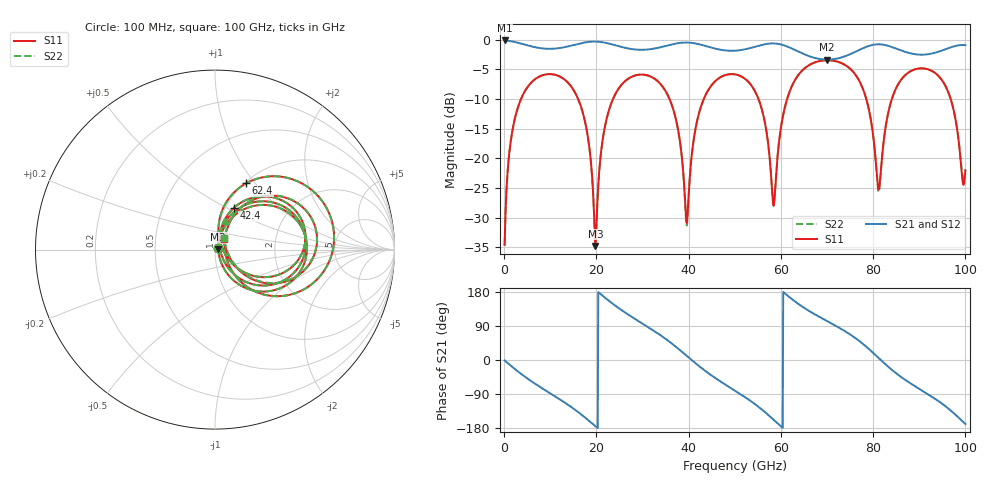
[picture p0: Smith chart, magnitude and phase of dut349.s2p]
! Touchstone file exported from HFSS 2026.1.0
!  File:  C:/ffzhzh/LocalFiles/Ansys_Project_Files/temp_train_TSV_RDL_349_1783707983_45496.aedt
!  Generated:  02:34:38 AM Jul 11, 2026
!  Design:  TSV_RDL
!  Project:  temp_train_TSV_RDL_349_1783707983_45496
! Variables:
!  h_bsmrdl = 4.22um
!  h_ox = 20um
!  h_rdl = 5um
!  h_sub = 79.89um
!  h_tmrdl = 2.1um
!  h_tsv = 79.89um
!  h_via = 3um
!  l_bsmrdl = 343.08um
!  l_sub = 2909.4um
!  l_tmrdl = 333.68um
!  m_sub = 200um
!  pitch = 51.9um
!  r_tsv = 7.05um
!  s_tmrdl = 10um
!  w_bsmrdl = 24.82um
!  w_sub = 500um
!  w_tmrdl = 23.66um
!  x_tsv_center1 = 345.51um
!  x_tsv_center2 = 713.41um
!  x_tsv_center3 = 1070.75um
!  x_tsv_center4 = 1438.65um
!  x_tsv_center5 = 1795.99um
!  x_tsv_center6 = 2163.89um
# GHz S MA R 50.000000
! Terminal data exported
! Port[1] = TM_RDL1_1_T1
! Port[2] = TM_RDL5_1_T1
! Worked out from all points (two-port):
!   1000 points, 100 MHz to 100 GHz, reference 50 ohm
!   highest |S21| = -0.13 dB at 100 MHz (marker M1); lowest = -3.4 dB at 70 GHz (marker M2)
!   |S21| within 3 dB of the highest: start of sweep to 67.62 GHz; 72.47 GHz to end of sweep
!   lowest |S11| = -34.8 dB at 19.8 GHz (marker M3), VSWR 1.04, Z = 51.9 + j0.134 ohm
!   |S11| at or under -10 dB: 16.04 GHz to 23.6 GHz (7.564 GHz wide, 38.2 % of centre); 35.85 GHz to 43.28 GHz (7.427 GHz wide, 18.8 % of centre); 55.14 GHz to 61.35 GHz (6.209 GHz wide, 10.7 % of centre) (the widest 3 of 6)
!   |S22| runs from -34.8 to -3.5 dB; largest |S21 - S12| = 1.5e-13
!   S11 on the Smith chart (normalised r, x): 100 MHz: 1.03, +0.02; 42.4 GHz: 1.09, +0.54; 62.4 GHz: 1.02, +0.90; 100 GHz: 1.10, +0.14
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0.1  0.01866 33.8  0.9846 -1.1  0.9846 -1.1  0.01866 33.8
! Gamma 0 0 0 0
! Port Impedance 50 0 50 0
1.7  0.1634 65.3  0.9665 -17.6  0.9665 -17.6  0.1634 65.3
4.9  0.3901 39.3  0.8987 -47.6  0.8987 -47.6  0.3901 39.2
10.6  0.51 -3.8  0.8388 -92.5  0.8388 -92.5  0.51 -3.8
16.8  0.2621 -52.7  0.9356 -144.6  0.9356 -144.6  0.262 -52.7
19.8  0.01826 4.1  0.9635 -174.7  0.9635 -174.7  0.01822 4.2
23.8  0.329 52.3  0.9038 146.1  0.9038 146.1  0.329 52.3
33.4  0.443 -19.7  0.8544 69.6  0.8544 69.6  0.4429 -19.8
37.3  0.2085 -49.8  0.9285 34.2  0.9285 34.2  0.2083 -50.1
39.6  0.02846 13.5  0.9458 10.8  0.9458 10.8  0.0272 13.7
42.4  0.2523 65.8  0.912 -17.5  0.912 -17.5  0.2522 66.1
50.1  0.5098 8.4  0.8077 -81.2  0.8077 -81.2  0.5097 8.6
55.5  0.2889 -31.8  0.8953 -127.0  0.8953 -127.0  0.2889 -31.6
58.4  0.03985 18.4  0.9294 -157.4  0.9294 -157.4  0.04061 18.7
62.4  0.4075 64.9  0.8418 160.5  0.8418 160.5  0.4077 64.8
66.7  0.6274 33.1  0.7132 125.2  0.7132 125.2  0.6276 33.0
70  0.6706 12.3  0.679 102.9  0.679 102.9  0.6707 12.3
77.5  0.4092 -39.1  0.8368 45.3  0.8368 45.3  0.409 -39.3
81.2  0.05461 4.1  0.914 5.2  0.914 5.2  0.05204 4.2
83.4  0.2551 59.3  0.8838 -19.2  0.8838 -19.2  0.2547 60.0
93.7  0.5142 -12.4  0.7812 -104.5  0.7812 -104.5  0.5144 -12.0
100  0.07903 50.9  0.8999 -169.0  0.8999 -169.0  0.08122 49.8
